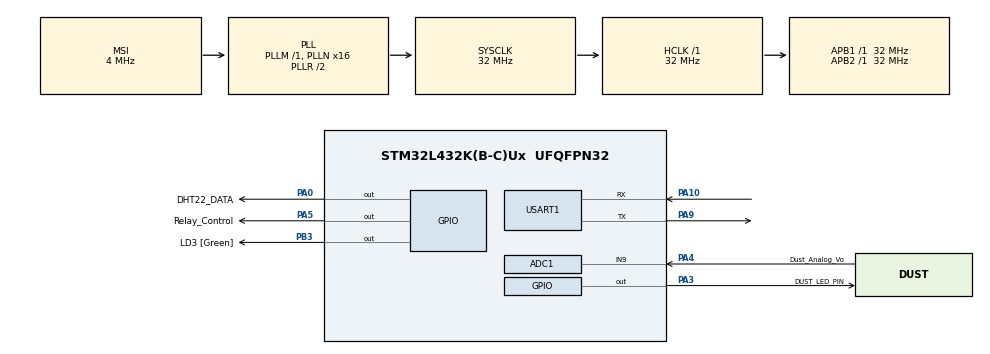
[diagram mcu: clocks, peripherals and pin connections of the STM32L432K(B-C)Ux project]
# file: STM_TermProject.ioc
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ADC1.Channel-0\#ChannelRegularConversion=ADC_CHANNEL_9
ADC1.NbrOfConversionFlag=1
ADC1.OffsetNumber-0\#ChannelRegularConversion=ADC_OFFSET_NONE
ADC1.Rank-0\#ChannelRegularConversion=1
ADC1.SamplingTime-0\#ChannelRegularConversion=ADC_SAMPLETIME_12CYCLES_5
ADC1.master=1
Mcu.Family=STM32L4
Mcu.Name=STM32L432K(B-C)Ux
Mcu.Package=UFQFPN32
NVIC.PriorityGroup=NVIC_PRIORITYGROUP_4
PA0.GPIO_Label=DHT22_DATA
PA0.Signal=GPIO_Output
PA10.Mode=Asynchronous
PA10.Signal=USART1_RX
PA13\ (JTMS-SWDIO).GPIO_Label=SWDIO
PA13\ (JTMS-SWDIO).Mode=Serial_Wire
PA13\ (JTMS-SWDIO).Signal=SYS_JTMS-SWDIO
PA14\ (JTCK-SWCLK).GPIO_Label=SWCLK
PA14\ (JTCK-SWCLK).Mode=Serial_Wire
PA14\ (JTCK-SWCLK).Signal=SYS_JTCK-SWCLK
PA15\ (JTDI).GPIO_Label=VCP_RX
PA15\ (JTDI).Signal=USART2_RX
PA2.GPIO_Label=VCP_TX
PA2.Signal=USART2_TX
PA3.GPIO_Label=DUST_LED_PIN
PA3.Signal=GPIO_Output
PA4.GPIO_Label=Dust_Analog_Vo
PA4.Signal=ADCx_IN9
PA5.GPIO_Label=Relay_Control
PA5.Signal=GPIO_Output
PA9.Mode=Asynchronous
PA9.Signal=USART1_TX
PB3\ (JTDO-TRACESWO).GPIO_Label=LD3 [Green]
PB3\ (JTDO-TRACESWO).Signal=GPIO_Output
PC14-OSC32_IN\ (PC14).Mode=LSE-External-Oscillator
PC14-OSC32_IN\ (PC14).Signal=RCC_OSC32_IN
PC15-OSC32_OUT\ (PC15).Mode=LSE-External-Oscillator
PC15-OSC32_OUT\ (PC15).Signal=RCC_OSC32_OUT
ProjectManager.HeapSize=0x200
ProjectManager.StackSize=0x400
ProjectManager.TargetToolchain=STM32CubeIDE
RCC.ADCFreq_Value=32000000
RCC.AHBFreq_Value=32000000
RCC.APB1Freq_Value=32000000
RCC.APB1TimFreq_Value=32000000
RCC.APB2Freq_Value=32000000
RCC.APB2TimFreq_Value=32000000
RCC.CortexFreq_Value=32000000
RCC.HCLKFreq_Value=32000000
RCC.HSE_VALUE=8000000
RCC.HSI16_VALUE=16000000
RCC.HSI48_VALUE=48000000
RCC.HSI_VALUE=16000000
RCC.MSI_VALUE=4000000
RCC.PLLMUL=RCC_PLLMUL_4
RCC.PLLN=16
RCC.PLLSAI1N=16
RCC.SYSCLKFreq_VALUE=32000000
RCC.SYSCLKSource=RCC_SYSCLKSOURCE_PLLCLK
RCC.USBFreq_Value=32000000
RCC.VCOOutputFreq_Value=64000000
SH.ADCx_IN9.0=ADC1_IN9,IN9-Single-Ended
USART1.VirtualMode-Asynchronous=VM_ASYNC
board=NUCLEO-L432KC

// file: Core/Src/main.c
/* USER CODE BEGIN Header */
/**
 ******************************************************************************
 * @file           : main.c
 * @brief          : Main program body
 ******************************************************************************
 * @attention
 *
 * Copyright (c) 2026 STMicroelectronics.
 * All rights reserved.
 *
 * This software is licensed under terms that can be found in the LICENSE file
 * in the root directory of this software component.
 * If no LICENSE file comes with this software, it is provided AS-IS.
 *
 ******************************************************************************
 */
/* USER CODE END Header */
#include "main.h"

/* USER CODE BEGIN Includes */
#include "DHTSensor.h"
#include "DustSensor.h"
#include "RelayControl.h"
#include <stdio.h>
#include <string.h>

/* USER CODE END Includes */

ADC_HandleTypeDef hadc1;

UART_HandleTypeDef huart1;

/* USER CODE BEGIN PV */
float dustVal = 0.0;
float tempVal = 0.0;
float humVal = 0.0;
uint32_t lastReadTick = 0;

// Moving Average Settings (30 seconds)
// Loop runs every 2000ms (2s), so 30s / 2s = 15 samples
#define DUST_MA_SIZE 15
float dust_ma[DUST_MA_SIZE] = {0};
uint8_t dust_ma_idx = 0;
uint8_t dust_ma_count = 0;

// UART RX Variables
uint8_t rxBuffer[32];
uint8_t rxByte;
uint8_t rxIndex = 0;

// System Mode State
uint8_t isAutoMode = 1; // 1 = Auto, 0 = Manual
/* USER CODE END PV */

void SystemClock_Config(void);
static void MX_GPIO_Init(void);
static void MX_USART1_UART_Init(void);
static void MX_ADC1_Init(void);

int main(void) {

  /* MCU Configuration--------------------------------------------------------*/

  /* Reset of all peripherals, Initializes the Flash interface and the Systick.
   */
  HAL_Init();

  /* Configure the system clock */
  SystemClock_Config();

  /* Initialize all configured peripherals */
  MX_GPIO_Init();
  MX_USART1_UART_Init();
  MX_ADC1_Init();
  /* USER CODE BEGIN 2 */
  initRelay();
  // 1. แค่ Calibrate ADC ตรงนี้พอ
  HAL_ADCEx_Calibration_Start(&hadc1, ADC_SINGLE_ENDED);
  initDustSensor();
  initDHTSensor();

  // Start UART RX Interrupt
  HAL_UART_Receive_IT(&huart1, &rxByte, 1);
  /* USER CODE END 2 */

  /* Infinite loop */
  /* USER CODE BEGIN WHILE */
  while (1) {
    uint32_t currentTick = HAL_GetTick();
    if (currentTick - lastReadTick >= 2000) {
      lastReadTick = currentTick;

      // Read Sensors
      float raw_dust = readDustDensity(&hadc1);
      float raw_temp = 0.0, raw_hum = 0.0;
      uint8_t dht_ok = readDHT22(&raw_temp, &raw_hum);

      // --- 1. OOR (Out Of Range) Check ---
      if (raw_dust < 0.0)
        raw_dust = 0.0;
      else if (raw_dust > 2000.0)
        raw_dust = 2000.0; // Reasonable max limits

      if (dht_ok) {
        if (raw_temp < -40.0 || raw_temp > 80.0)
          dht_ok = 0; // Temp OOR
        if (raw_hum < 0.0 || raw_hum > 100.0)
          dht_ok = 0; // Hum OOR
      }

      // Update Temp/Hum only if data is valid and in range
      if (dht_ok) {
        tempVal = raw_temp;
        humVal = raw_hum;
      }

      // --- 2. Moving Average (Dust 30 seconds) ---
      dust_ma[dust_ma_idx] = raw_dust;
      dust_ma_idx = (dust_ma_idx + 1) % DUST_MA_SIZE;
      if (dust_ma_count < DUST_MA_SIZE)
        dust_ma_count++;

      float sum_dust = 0;
      for (int i = 0; i < dust_ma_count; i++) {
        sum_dust += dust_ma[i];
      }
      dustVal = sum_dust / dust_ma_count;

      // --- 3. Decision Logic (Only applies if in Auto Mode) ---
      if (isAutoMode) {
        if (dustVal > 50.0) {
          turnOnRelay();
        } else if (dustVal < 30.0) {
          turnOffRelay();
        }
      }

      // Prepare Data (Send Mode status too: M:1 for Auto, M:0 for Manual)
      char buffer[64];
      snprintf(buffer, sizeof(buffer), "PM:%.1f,T:%.1f,H:%.1f,R:%d,M:%d\n",
               dustVal, tempVal, humVal, getRelayState(), isAutoMode);

      // Send via UART
      HAL_UART_Transmit(&huart1, (uint8_t *)buffer, strlen(buffer), 100);
    }

    /* USER CODE END WHILE */

  }
}

void SystemClock_Config(void) {
  RCC_OscInitTypeDef RCC_OscInitStruct = {0};
  RCC_ClkInitTypeDef RCC_ClkInitStruct = {0};

  /** Configure the main internal regulator output voltage
   */
  if (HAL_PWREx_ControlVoltageScaling(PWR_REGULATOR_VOLTAGE_SCALE1) != HAL_OK) {
    Error_Handler();
  }

  /** Configure LSE Drive Capability
   */
  HAL_PWR_EnableBkUpAccess();
  __HAL_RCC_LSEDRIVE_CONFIG(RCC_LSEDRIVE_LOW);

  /** Initializes the RCC Oscillators according to the specified parameters
   * in the RCC_OscInitTypeDef structure.
   */
  RCC_OscInitStruct.OscillatorType =
      RCC_OSCILLATORTYPE_LSE | RCC_OSCILLATORTYPE_MSI;
  RCC_OscInitStruct.LSEState = RCC_LSE_ON;
  RCC_OscInitStruct.MSIState = RCC_MSI_ON;
  RCC_OscInitStruct.MSICalibrationValue = 0;
  RCC_OscInitStruct.MSIClockRange = RCC_MSIRANGE_6;
  RCC_OscInitStruct.PLL.PLLState = RCC_PLL_ON;
  RCC_OscInitStruct.PLL.PLLSource = RCC_PLLSOURCE_MSI;
  RCC_OscInitStruct.PLL.PLLM = 1;
  RCC_OscInitStruct.PLL.PLLN = 16;
  RCC_OscInitStruct.PLL.PLLP = RCC_PLLP_DIV7;
  RCC_OscInitStruct.PLL.PLLQ = RCC_PLLQ_DIV2;
  RCC_OscInitStruct.PLL.PLLR = RCC_PLLR_DIV2;
  if (HAL_RCC_OscConfig(&RCC_OscInitStruct) != HAL_OK) {
    Error_Handler();
  }

  /** Initializes the CPU, AHB and APB buses clocks
   */
  RCC_ClkInitStruct.ClockType = RCC_CLOCKTYPE_HCLK | RCC_CLOCKTYPE_SYSCLK |
                                RCC_CLOCKTYPE_PCLK1 | RCC_CLOCKTYPE_PCLK2;
  RCC_ClkInitStruct.SYSCLKSource = RCC_SYSCLKSOURCE_PLLCLK;
  RCC_ClkInitStruct.AHBCLKDivider = RCC_SYSCLK_DIV1;
  RCC_ClkInitStruct.APB1CLKDivider = RCC_HCLK_DIV1;
  RCC_ClkInitStruct.APB2CLKDivider = RCC_HCLK_DIV1;

  if (HAL_RCC_ClockConfig(&RCC_ClkInitStruct, FLASH_LATENCY_1) != HAL_OK) {
    Error_Handler();
  }

  /** Enable MSI Auto calibration
   */
  HAL_RCCEx_EnableMSIPLLMode();
}

static void MX_ADC1_Init(void) {

  ADC_ChannelConfTypeDef sConfig = {0};

  /** Common config
   */
  hadc1.Instance = ADC1;
  hadc1.Init.ClockPrescaler = ADC_CLOCK_ASYNC_DIV1;
  hadc1.Init.Resolution = ADC_RESOLUTION_12B;
  hadc1.Init.DataAlign = ADC_DATAALIGN_RIGHT;
  hadc1.Init.ScanConvMode = ADC_SCAN_DISABLE;
  hadc1.Init.EOCSelection = ADC_EOC_SINGLE_CONV;
  hadc1.Init.LowPowerAutoWait = DISABLE;
  hadc1.Init.ContinuousConvMode = DISABLE;
  hadc1.Init.NbrOfConversion = 1;
  hadc1.Init.DiscontinuousConvMode = DISABLE;
  hadc1.Init.ExternalTrigConv = ADC_SOFTWARE_START;
  hadc1.Init.ExternalTrigConvEdge = ADC_EXTERNALTRIGCONVEDGE_NONE;
  hadc1.Init.DMAContinuousRequests = DISABLE;
  hadc1.Init.Overrun = ADC_OVR_DATA_PRESERVED;
  hadc1.Init.OversamplingMode = DISABLE;
  if (HAL_ADC_Init(&hadc1) != HAL_OK) {
    Error_Handler();
  }

  /** Configure Regular Channel
   */
  sConfig.Channel = ADC_CHANNEL_9;
  sConfig.Rank = ADC_REGULAR_RANK_1;
  sConfig.SamplingTime = ADC_SAMPLETIME_12CYCLES_5;
  sConfig.SingleDiff = ADC_SINGLE_ENDED;
  sConfig.OffsetNumber = ADC_OFFSET_NONE;
  sConfig.Offset = 0;
  if (HAL_ADC_ConfigChannel(&hadc1, &sConfig) != HAL_OK) {
    Error_Handler();
  }
}

static void MX_USART1_UART_Init(void) {

  huart1.Instance = USART1;
  huart1.Init.BaudRate = 115200;
  huart1.Init.WordLength = UART_WORDLENGTH_8B;
  huart1.Init.StopBits = UART_STOPBITS_1;
  huart1.Init.Parity = UART_PARITY_NONE;
  huart1.Init.Mode = UART_MODE_TX_RX;
  huart1.Init.HwFlowCtl = UART_HWCONTROL_NONE;
  huart1.Init.OverSampling = UART_OVERSAMPLING_16;
  huart1.Init.OneBitSampling = UART_ONE_BIT_SAMPLE_DISABLE;
  huart1.AdvancedInit.AdvFeatureInit = UART_ADVFEATURE_NO_INIT;
  if (HAL_UART_Init(&huart1) != HAL_OK) {
    Error_Handler();
  }
}

static void MX_GPIO_Init(void) {
  GPIO_InitTypeDef GPIO_InitStruct = {0};

  /* GPIO Ports Clock Enable */
  __HAL_RCC_GPIOC_CLK_ENABLE();
  __HAL_RCC_GPIOA_CLK_ENABLE();
  __HAL_RCC_GPIOB_CLK_ENABLE();

  /*Configure GPIO pin Output Level */
  HAL_GPIO_WritePin(GPIOA,
                    DHT22_DATA_Pin | DUST_LED_PIN_Pin | Relay_Control_Pin,
                    GPIO_PIN_RESET);

  /*Configure GPIO pin Output Level */
  HAL_GPIO_WritePin(LD3_GPIO_Port, LD3_Pin, GPIO_PIN_RESET);

  /*Configure GPIO pins : DHT22_DATA_Pin DUST_LED_PIN_Pin Relay_Control_Pin */
  GPIO_InitStruct.Pin = DHT22_DATA_Pin | DUST_LED_PIN_Pin | Relay_Control_Pin;
  GPIO_InitStruct.Mode = GPIO_MODE_OUTPUT_PP;
  GPIO_InitStruct.Pull = GPIO_NOPULL;
  GPIO_InitStruct.Speed = GPIO_SPEED_FREQ_LOW;
  HAL_GPIO_Init(GPIOA, &GPIO_InitStruct);

  /*Configure GPIO pin : VCP_TX_Pin */
  GPIO_InitStruct.Pin = VCP_TX_Pin;
  GPIO_InitStruct.Mode = GPIO_MODE_AF_PP;
  GPIO_InitStruct.Pull = GPIO_NOPULL;
  GPIO_InitStruct.Speed = GPIO_SPEED_FREQ_VERY_HIGH;
  GPIO_InitStruct.Alternate = GPIO_AF7_USART2;
  HAL_GPIO_Init(VCP_TX_GPIO_Port, &GPIO_InitStruct);

  /*Configure GPIO pin : VCP_RX_Pin */
  GPIO_InitStruct.Pin = VCP_RX_Pin;
  GPIO_InitStruct.Mode = GPIO_MODE_AF_PP;
  GPIO_InitStruct.Pull = GPIO_NOPULL;
  GPIO_InitStruct.Speed = GPIO_SPEED_FREQ_VERY_HIGH;
  GPIO_InitStruct.Alternate = GPIO_AF3_USART2;
  HAL_GPIO_Init(VCP_RX_GPIO_Port, &GPIO_InitStruct);

  /*Configure GPIO pin : LD3_Pin */
  GPIO_InitStruct.Pin = LD3_Pin;
  GPIO_InitStruct.Mode = GPIO_MODE_OUTPUT_PP;
  GPIO_InitStruct.Pull = GPIO_NOPULL;
  GPIO_InitStruct.Speed = GPIO_SPEED_FREQ_LOW;
  HAL_GPIO_Init(LD3_GPIO_Port, &GPIO_InitStruct);

}

/* USER CODE BEGIN 4 */
void HAL_UART_RxCpltCallback(UART_HandleTypeDef *huart) {
  if (huart->Instance == USART1) {
    if (rxByte == '\n' || rxByte == '\r') {
      rxBuffer[rxIndex] = '\0'; // Null terminate string

      // Parse Command from ESP32 using strstr to ignore garbage data
      if (strstr((char *)rxBuffer, "CMD:ON") != NULL) {
        isAutoMode = 0; // Disable Auto mode
        turnOnRelay();
      } else if (strstr((char *)rxBuffer, "CMD:OFF") != NULL) {
        isAutoMode = 0; // Disable Auto mode
        turnOffRelay();
      } else if (strstr((char *)rxBuffer, "CMD:TOGGLE") != NULL) {
        isAutoMode = 0; // Disable Auto mode
        toggleRelay();
      } else if (strstr((char *)rxBuffer, "CMD:AUTO") != NULL) {
        isAutoMode = 1; // Enable Auto mode
      }

      rxIndex = 0; // Reset buffer index
    } else {
      if (rxIndex < sizeof(rxBuffer) - 1) {
        rxBuffer[rxIndex++] = rxByte;
      }
    }

    // Re-enable interrupt to receive next byte
    HAL_UART_Receive_IT(&huart1, &rxByte, 1);
  }
}

void HAL_UART_ErrorCallback(UART_HandleTypeDef *huart) {
  if (huart->Instance == USART1) {
    // Restart RX if an Overrun, Noise, or Framing error occurs
    HAL_UART_Receive_IT(&huart1, &rxByte, 1);
  }
}
/* USER CODE END 4 */

void Error_Handler(void) {
  __disable_irq();
  while (1) {
  }
}

#ifdef USE_FULL_ASSERT
/**
 * @brief  Reports the name of the source file and the source line number
 *         where the assert_param error has occurred.
 * @param  file: pointer to the source file name
 * @param  line: assert_param error line source number
 * @retval None
 */
void assert_failed(uint8_t *file, uint32_t line) {
  /* USER CODE BEGIN 6 */
  /* User can add his own implementation to report the file name and line
     number, ex: printf("Wrong parameters value: file %s on line %d\r\n", file,
     line) */
  /* USER CODE END 6 */
}
#endif /* USE_FULL_ASSERT */
